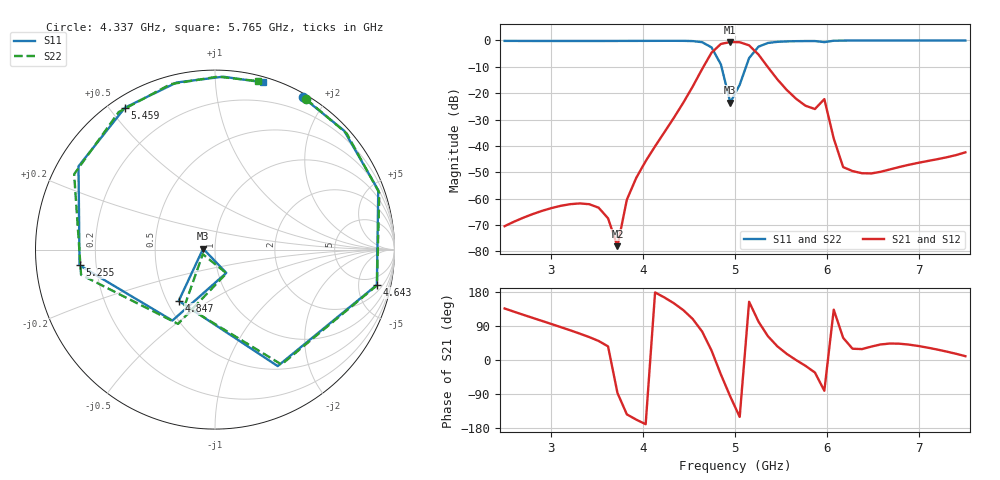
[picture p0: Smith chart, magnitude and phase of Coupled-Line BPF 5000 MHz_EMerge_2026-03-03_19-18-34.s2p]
! Generated by EMerge - 2-port S-parameters
! File generated: 2026-03-03 19:18
! --- Coupled-Line BPF 5000 MHz ---
! Substrate: RO4003C
! h = 0.508 mm
! W50 = 1.1 mm, Lfeed = 5 mm
! L1 = 8.93 mm, S1 = 0.103 mm, W1 = 0.76 mm
! L2 = 8.93 mm, S2 = 0.103 mm, W2 = 1.08 mm
! Run time = 0.93 min
# GHZ S RI R 50
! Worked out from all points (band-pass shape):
!   50 points, 2.5 GHz to 7.5 GHz, reference 50 ohm
!   highest |S21| = -0.64 dB at 4.949 GHz (marker M1); lowest = -78.0 dB at 3.724 GHz (marker M2)
!   |S21| within 3 dB of the highest: 4.777 GHz to 5.204 GHz (427 MHz wide, 8.56 % of centre)
!   lowest |S11| = -23.6 dB at 4.949 GHz (marker M3), VSWR 1.14, Z = 43.8 + j0.46 ohm
!   |S11| at or under -10 dB: 4.853 GHz to 5.12 GHz (266.8 MHz wide, 5.35 % of centre)
!   |S22| runs from -22.8 to 0.0 dB; largest |S21 - S12| = 0.00092
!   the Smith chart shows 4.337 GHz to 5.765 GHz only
!   S11 on the Smith chart (normalised r, x): 4.337 GHz: 0.04, +1.73; 4.643 GHz: 3.07, -8.14; 4.847 GHz: 0.57, -0.37; 5.255 GHz: 0.14, -0.06; 5.459 GHz: 0.04, +0.55; 5.765 GHz: 0.04, +1.33
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2.5  -0.7871 -0.5759  -0.000217 0.00021  -0.000217 0.000211  -0.7924 -0.5683
3.418367  -0.8587 0.457  0.000389 0.000685  0.000393 0.000685  -0.8504 0.4722
3.622449  -0.6968 0.68  0.000344 0.000249  0.000349 0.000248  -0.6833 0.6936
3.72449  -0.5875 0.7772  6.75e-06 -0.000126  1.22e-05 -0.000128  -0.5714 0.7893
3.826531  -0.4587 0.8605  -0.000771 -0.00057  -0.000764 -0.000574  -0.44 0.8704
4.234694  0.2607 0.9441  -0.0176 0.00474  -0.0176 0.00473  0.2836 0.9377
4.336735  0.488 0.8496  -0.0295 0.0172  -0.0295 0.0172  0.5082 0.838
4.540816  0.9096 0.331  -0.0419 0.1265  -0.0419 0.1264  0.9154 0.3161
4.642857  0.9018 -0.1966  0.0722 0.2754  0.0722 0.2754  0.9022 -0.1996
4.744898  0.3493 -0.649  0.5265 0.2484  0.5265 0.2484  0.3703 -0.6401
4.846939  -0.202 -0.2857  0.6714 -0.5294  0.6715 -0.5294  -0.1689 -0.3115
4.94898  -0.0662 0.00523  -0.1046 -0.9228  -0.1046 -0.9228  -0.0681 -0.0256
5.05102  0.0628 -0.1298  -0.7999 -0.4577  -0.7999 -0.4577  0.064 -0.1319
5.153061  -0.2374 -0.3954  -0.7212 0.3564  -0.7212 0.3563  -0.2058 -0.4139
5.255102  -0.7546 -0.0873  -0.1041 0.5274  -0.1041 0.5274  -0.7462 -0.1405
5.459184  -0.5018 0.7909  0.1475 0.1079  0.1474 0.1079  -0.5365 0.7666
5.765306  0.2666 0.9319  0.0556 -0.0153  0.0555 -0.0153  0.2409 0.9383
5.867347  0.4537 0.8566  0.0419 -0.0273  0.0417 -0.0272  0.4322 0.8673
5.969388  0.5865 0.715  0.0119 -0.0762  0.0116 -0.0753  0.5704 0.7306
6.173469  0.8121 0.5639  0.00208 0.00338  0.00223 0.00326  0.8015 0.5782
6.683673  0.9896 -0.0979  0.00261 0.00248  0.00259 0.00242  0.9909 -0.0815
7.5  0.4796 -0.868  0.00744 0.00132  0.00734 0.0014  0.4951 -0.8593
